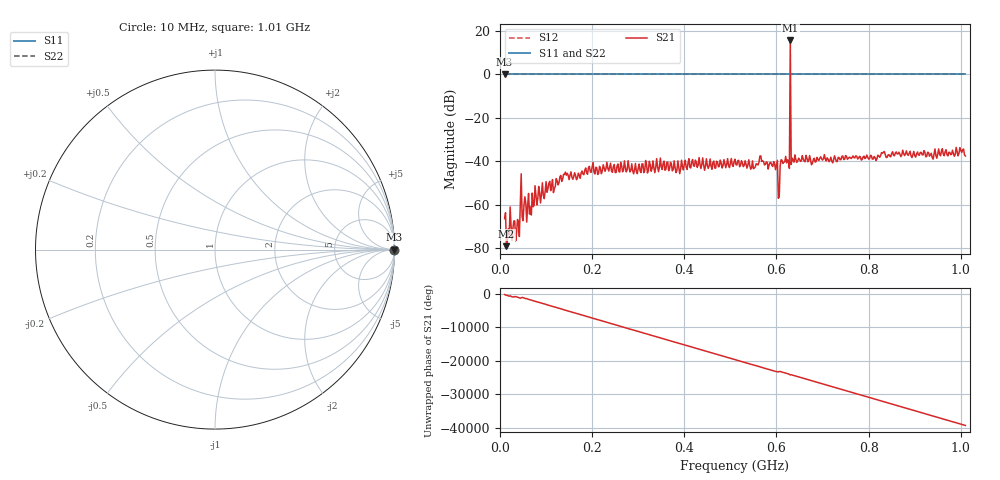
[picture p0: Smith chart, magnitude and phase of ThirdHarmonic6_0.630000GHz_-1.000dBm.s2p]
! 8/15/2025 8:47:22 PM
! C:\ANRITSUVNA\TEMP\TEMP.S2P
! CHANNEL.1
! TR.MEASUREMENT
! RAW.DATA
! RF.CORRECTION.OFF
! AVERAGING.OFF
! IF.BANDWIDTH: 5KHZ
! SWEEPTYPE:  FREQ.SWEEP(Linear)
! Reference Plane Port Info
! PORT:  PORT1  PORT2
! DISTANCE:  0  m  0  m
! TIME:  0  s  0  s
! PHASE.OFFSET:  0  deg.  0  deg.
! LOSS:  0  dB  0  dB
! REF.LOSS:  0  dB  0  dB
! REF.FREQ:  0  Hz  0  Hz
! Power Info
! POWER:  -20  dBm  -20  dBm
! EFF.POWER:  -20  dBm  -20  dBm
! SOURCE.ATTEN:  0  dB  0  dB
! TEST.ATTEN:  0  dB  0  dB
# GHZ S RI R 50.0
! FREQ.GHZ  S11RE  S11IM  S21RE  S21IM  S12RE  S12IM  S22RE  S22IM
!; PortSelection: Port_12
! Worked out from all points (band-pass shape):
!   501 points, 10 MHz to 1.01 GHz, reference 50 ohm
!   highest |S21| = 15.55 dB at 630 MHz (marker M1); lowest = -79.1 dB at 14 MHz (marker M2)
!   |S21| within 3 dB of the highest: 629.898 MHz to 630.1051 MHz (207 kHz wide, 0.0329 % of centre)
!   lowest |S11| = 0.0 dB at 10 MHz (marker M3)
!   |S11| at or under -10 dB: nowhere
!   |S22| runs from 0.0 to 0.0 dB; largest |S21 - S12| = 5.8
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0.01  1 0  -0.000423 -0.000219  1 0  1 0
0.014  1 0  0.000111 1.05e-05  1 0  1 0
0.038  1 0  -0.000316 0.00033  1 0  1 0
0.042  1 0  0.000122 -0.000139  1 0  1 0
0.05  1 0  0.000427 2.38e-05  1 0  1 0
0.068  1 0  0.000576 3.93e-05  1 0  1 0
0.142  1 0  -0.00527 -0.00194  1 0  1 0
0.178  1 0  -0.00566 -0.00184  1 0  1 0
0.344  1 0  0.00575 6.02e-05  1 0  1 0
0.51  1 0  -0.0111 6.11e-05  1 0  1 0
0.568  1 0  0.00945 0.00277  1 0  1 0
0.598  1 0  -0.00148 -0.00622  1 0  1 0
0.602  1 0  -0.00365 0.00984  1 0  1 0
0.612  1 0  0.00512 0.00917  1 0  1 0
0.624  1 0  0.00698 -0.00823  1 0  1 0
0.626  1 0  -0.00715 -0.00716  1 0  1 0
0.63  1 0  1.463 -5.813  1 0  1 0
0.634  1 0  -0.00237 -0.0116  1 0  1 0
0.636  1 0  -0.0107 0.000453  1 0  1 0
0.678  1 0  0.00469 -0.00762  1 0  1 0
0.844  1 0  -0.00503 0.0132  1 0  1 0
1.01  1 0  0.00495 -0.0122  1 0  1 0
